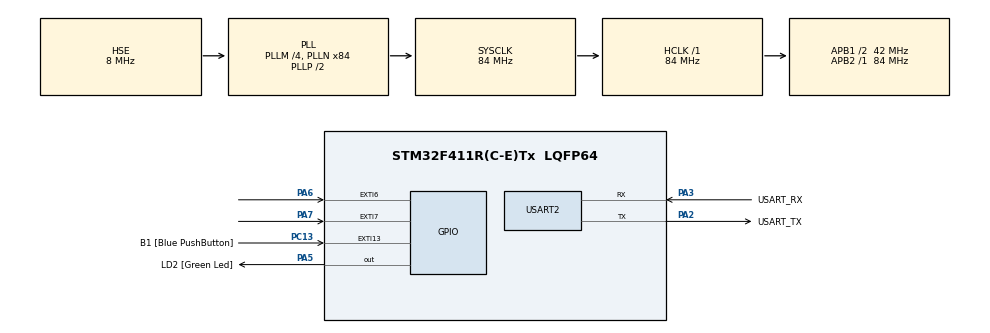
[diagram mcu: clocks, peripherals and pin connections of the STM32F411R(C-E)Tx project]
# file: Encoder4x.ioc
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Mcu.Family=STM32F4
Mcu.Name=STM32F411R(C-E)Tx
Mcu.Package=LQFP64
NVIC.EXTI9_5_IRQn=true\:0\:0\:false\:true\:true\:1\:true\:true\:true
NVIC.PriorityGroup=NVIC_PRIORITYGROUP_0
NVIC.TIM3_IRQn=true\:0\:0\:false\:false\:true\:true\:true\:true
PA13.GPIO_Label=TMS
PA13.Mode=Serial_Wire
PA13.Signal=SYS_JTMS-SWDIO
PA14.GPIO_Label=TCK
PA14.Mode=Serial_Wire
PA14.Signal=SYS_JTCK-SWCLK
PA2.GPIO_Label=USART_TX
PA2.Mode=Asynchronous
PA2.Signal=USART2_TX
PA3.GPIO_Label=USART_RX
PA3.Mode=Asynchronous
PA3.Signal=USART2_RX
PA5.GPIO_Label=LD2 [Green Led]
PA5.Signal=GPIO_Output
PA6.GPIO_ModeDefaultEXTI=GPIO_MODE_IT_RISING_FALLING
PA6.GPIO_PuPd=GPIO_PULLUP
PA6.Signal=GPXTI6
PA7.GPIO_ModeDefaultEXTI=GPIO_MODE_IT_RISING_FALLING
PA7.GPIO_PuPd=GPIO_PULLUP
PA7.Signal=GPXTI7
PB3.GPIO_Label=SWO
PB3.Signal=SYS_JTDO-SWO
PC13-ANTI_TAMP.GPIO_Label=B1 [Blue PushButton]
PC13-ANTI_TAMP.GPIO_ModeDefaultEXTI=GPIO_MODE_IT_FALLING
PC13-ANTI_TAMP.Signal=GPXTI13
PC14-OSC32_IN.Mode=LSE-External-Oscillator
PC14-OSC32_IN.Signal=RCC_OSC32_IN
PC15-OSC32_OUT.Mode=LSE-External-Oscillator
PC15-OSC32_OUT.Signal=RCC_OSC32_OUT
PH0\ -\ OSC_IN.Mode=HSE-External-Oscillator
PH0\ -\ OSC_IN.Signal=RCC_OSC_IN
PH1\ -\ OSC_OUT.Mode=HSE-External-Oscillator
PH1\ -\ OSC_OUT.Signal=RCC_OSC_OUT
ProjectManager.HeapSize=0x200
ProjectManager.StackSize=0x400
ProjectManager.TargetToolchain=STM32CubeIDE
RCC.48MHZClocksFreq_Value=42000000
RCC.AHBFreq_Value=84000000
RCC.APB1CLKDivider=RCC_HCLK_DIV2
RCC.APB1Freq_Value=42000000
RCC.APB1TimFreq_Value=84000000
RCC.APB2Freq_Value=84000000
RCC.APB2TimFreq_Value=84000000
RCC.CortexFreq_Value=84000000
RCC.FLatency-AdvancedSettings=FLASH_LATENCY_2
RCC.HCLKFreq_Value=84000000
RCC.HSE_VALUE=8000000
RCC.HSI_VALUE=16000000
RCC.PLLM=4
RCC.PLLN=84
RCC.PLLSourceVirtual=RCC_PLLSOURCE_HSE
RCC.SYSCLKFreq_VALUE=84000000
RCC.SYSCLKSource=RCC_SYSCLKSOURCE_PLLCLK
RCC.VCOOutputFreq_Value=168000000
TIM3.AutoReloadPreload=TIM_AUTORELOAD_PRELOAD_ENABLE
TIM3.Period=150-1
TIM3.Prescaler=8400-1
USART2.VirtualMode=VM_ASYNC
VP_TIM3_VS_ClockSourceINT.Mode=Internal
board=NUCLEO-F411RE

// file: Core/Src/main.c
/* USER CODE BEGIN Header */
/**
  ******************************************************************************
  * @file           : main.c
  * @brief          : Main program body
  ******************************************************************************
  * @attention
  *
  * Copyright (c) 2026 STMicroelectronics.
  * All rights reserved.
  *
  * This software is licensed under terms that can be found in the LICENSE file
  * in the root directory of this software component.
  * If no LICENSE file comes with this software, it is provided AS-IS.
  *
  ******************************************************************************
  */
/* USER CODE END Header */
#include "main.h"
#include "tim.h"
#include "usart.h"
#include "gpio.h"

/* USER CODE BEGIN Includes */
#include <stdio.h>
/* USER CODE END Includes */

/* USER CODE BEGIN PV */
// Variables para conteo de pulsos, tiempo, revoluciones, velocidad y posicion
// Estas variables son actualizadas en las interrupciones y usadas para calcular la velocidad y posicion del encoder
// el tipo volatile se usa para indicar al compilador que estas variables pueden ser modificadas por interrupciones y no deben ser optimizadas
volatile int cont=0;
volatile int cont1=0;
volatile float tim=0.0;
volatile float rev=0.0;
volatile float vel=0.0;
volatile float pos=0.0;
/* USER CODE END PV */

void SystemClock_Config(void);
static void MX_NVIC_Init(void);
/* USER CODE BEGIN PFP */
int uart2_write(int ch);
int __io_putchar(int ch);
/* USER CODE END PFP */

int main(void)
{

  /* MCU Configuration--------------------------------------------------------*/

  /* Reset of all peripherals, Initializes the Flash interface and the Systick. */
  HAL_Init();

  /* Configure the system clock */
  SystemClock_Config();

  /* Initialize all configured peripherals */
  MX_GPIO_Init();
  MX_TIM3_Init();
  MX_USART2_UART_Init();

  /* Initialize interrupts */
  MX_NVIC_Init();
  /* USER CODE BEGIN 2 */
  HAL_TIM_Base_Start_IT(&htim3);
  /* USER CODE END 2 */

  /* Infinite loop */
  while (1)
  {

  }
}

void SystemClock_Config(void)
{
  RCC_OscInitTypeDef RCC_OscInitStruct = {0};
  RCC_ClkInitTypeDef RCC_ClkInitStruct = {0};

  /** Configure the main internal regulator output voltage
  */
  __HAL_RCC_PWR_CLK_ENABLE();
  __HAL_PWR_VOLTAGESCALING_CONFIG(PWR_REGULATOR_VOLTAGE_SCALE1);

  /** Initializes the RCC Oscillators according to the specified parameters
  * in the RCC_OscInitTypeDef structure.
  */
  RCC_OscInitStruct.OscillatorType = RCC_OSCILLATORTYPE_HSE;
  RCC_OscInitStruct.HSEState = RCC_HSE_ON;
  RCC_OscInitStruct.PLL.PLLState = RCC_PLL_ON;
  RCC_OscInitStruct.PLL.PLLSource = RCC_PLLSOURCE_HSE;
  RCC_OscInitStruct.PLL.PLLM = 4;
  RCC_OscInitStruct.PLL.PLLN = 84;
  RCC_OscInitStruct.PLL.PLLP = RCC_PLLP_DIV2;
  RCC_OscInitStruct.PLL.PLLQ = 4;
  if (HAL_RCC_OscConfig(&RCC_OscInitStruct) != HAL_OK)
  {
    Error_Handler();
  }

  /** Initializes the CPU, AHB and APB buses clocks
  */
  RCC_ClkInitStruct.ClockType = RCC_CLOCKTYPE_HCLK|RCC_CLOCKTYPE_SYSCLK
                              |RCC_CLOCKTYPE_PCLK1|RCC_CLOCKTYPE_PCLK2;
  RCC_ClkInitStruct.SYSCLKSource = RCC_SYSCLKSOURCE_PLLCLK;
  RCC_ClkInitStruct.AHBCLKDivider = RCC_SYSCLK_DIV1;
  RCC_ClkInitStruct.APB1CLKDivider = RCC_HCLK_DIV2;
  RCC_ClkInitStruct.APB2CLKDivider = RCC_HCLK_DIV1;

  if (HAL_RCC_ClockConfig(&RCC_ClkInitStruct, FLASH_LATENCY_2) != HAL_OK)
  {
    Error_Handler();
  }
}

/**
  * @brief NVIC Configuration.
  * @retval None
  */
static void MX_NVIC_Init(void)
{
  /* EXTI9_5_IRQn interrupt configuration */
  HAL_NVIC_SetPriority(EXTI9_5_IRQn, 0, 0);
  HAL_NVIC_EnableIRQ(EXTI9_5_IRQn);
}

/* USER CODE BEGIN 4 */
int uart2_write(int ch){
	while(!(USART2 -> SR & USART_SR_TXE)){}

	USART2->DR = (ch & 0xFF);
	return ch;
}

int __io_putchar(int ch){
	uart2_write(ch);
	return ch;
}

/*
 * Aqui podras ver los 4 modos de lecturas de encoder en codigo comentado
 *
 * Este proyecto esta configurado para modo 4x, este modo usa 2 interrupciones externas que detectan
 * flancos de subida y bajada
 *
 * Para modo 2x configuras 2 interrupciones externas pero solo en modo de deteccion de flancos de bajada
 * GPIO_InitStruct.Mode = GPIO_MODE_IT_RISING_FALLING; desde CUBEMX
 *
 * Para modo 1x configura 1 interrupcion externa que solo detecte flancos de bajada (canal A del encoder)
 * y un input (canal B del encoder)
 *
 * NOTA: las interrupciones externas y los inputs deben detener tambien un Pull-up
 *
 */

// MODO 4X

void HAL_GPIO_EXTI_Callback(uint16_t GPIO_Pin){
	//lectura en modo 4x; revisar configuracion en gpio
	// se dectectan flancos de subida y bajada
	if(GPIO_Pin == GPIO_PIN_6){
        // Leer el estado del Canal B para determinar direccion
        if(HAL_GPIO_ReadPin(GPIOA, GPIO_PIN_7) == GPIO_PIN_RESET){
            cont++;
        } else {
            cont--;
        }
	}
	if(GPIO_Pin == GPIO_PIN_7){
	        // Leer el estado del Canal B para determinar direccion
	        if(HAL_GPIO_ReadPin(GPIOA, GPIO_PIN_6) == GPIO_PIN_RESET){
	            cont--;
	        } else {
	            cont++;
	        }
		}
}

void HAL_TIM_PeriodElapsedCallback(TIM_HandleTypeDef *htim){
	if(htim -> Instance == TIM3){ // interrupcion por timer cada 15ms
		tim+=0.015f; //sampling time
		rev=(float)cont/(4.0*495.0); //4(modo 4x) 495(PPR depende del motor)
		vel=(((float)cont-(float)cont1)*60.0)/(4.0*495.0*0.015);
		cont1=cont;
		pos=(((float)cont)/(4.0*495.0))*360.0;
		printf("%.2f, %.2f, %.2f\n\r", tim, pos, vel);
	}

}

//MODO 2X

/*
 * Para el modo 2x el codigo es exactamente igual al de 4x
 * la diferencia es como declaramos los pines en gpio
 * para 4x detectan flancos de subidas y bajas mientras que en 2x solo flancos de bajada.
 *
void HAL_GPIO_EXTI_Callback(uint16_t GPIO_Pin){
	if(GPIO_Pin == GPIO_PIN_6){
        //* Leer el estado del Canal B para determinar direccion
        if(HAL_GPIO_ReadPin(GPIOA, GPIO_PIN_7) == GPIO_PIN_RESET){
            cont++;
        } else {
            cont--;
        }
	}
	if(GPIO_Pin == GPIO_PIN_7){
	        //* Leer el estado del Canal B para determinar direccion
	        if(HAL_GPIO_ReadPin(GPIOA, GPIO_PIN_6) == GPIO_PIN_RESET){
	            cont--;
	        } else {
	            cont++;
	        }
		}
}

void HAL_TIM_PeriodElapsedCallback(TIM_HandleTypeDef *htim){
	if(htim -> Instance == TIM3){ // interrupcion por timer cada 15ms
		tim+=0.015f;//sampling time
		rev=(float)cont/(2.0*495.0); //2(modo 2x) 495(PPR depende del motor)
		vel=(((float)cont-(float)cont1)*60.0)/(2.0*495.0*0.015);
		cont1=cont;
		printf("%.2f, %.2f, %.2f\n\r", tim, rev, vel);
	}

} */

//MODO 1x

/*
 * Este es el modo mas sencillo es util muchas veces como en control de velocidad
 * declaramos solo un pin con interrupcion externa y el otro como input
 * normalmente canal A es EXTI(interrupcion externa) y canal b input(determina direccion de giro)
 *
void HAL_GPIO_EXTI_Callback(uint16_t GPIO_Pin){
	if(GPIO_Pin == GPIO_PIN_6){
		//* Leer el estado del Canal B para determinar direccion
		if(HAL_GPIO_ReadPin(GPIOA, GPIO_PIN_7) == GPIO_PIN_SET){
			cont++;
		} else {
			cont--;
		}
	}
}

void HAL_TIM_PeriodElapsedCallback(TIM_HandleTypeDef *htim){
	if(htim -> Instance == TIM3){ // interrupcion por timer cada 15ms
		tim+=0.015f;//sampling time
		rev=(float)cont/(1.0*495.0); //1(modo 1x) 495(PPR depende del motor)
		vel=(((float)cont-(float)cont1)*60.0)/(1.0*495.0*0.015);
		cont1=cont;
		printf("%.2f, %.2f, %.2f\n\r", tim, rev, vel);
	}
 */

/* USER CODE END 4 */

void Error_Handler(void)
{
  __disable_irq();
  while (1)
  {
  }
}
